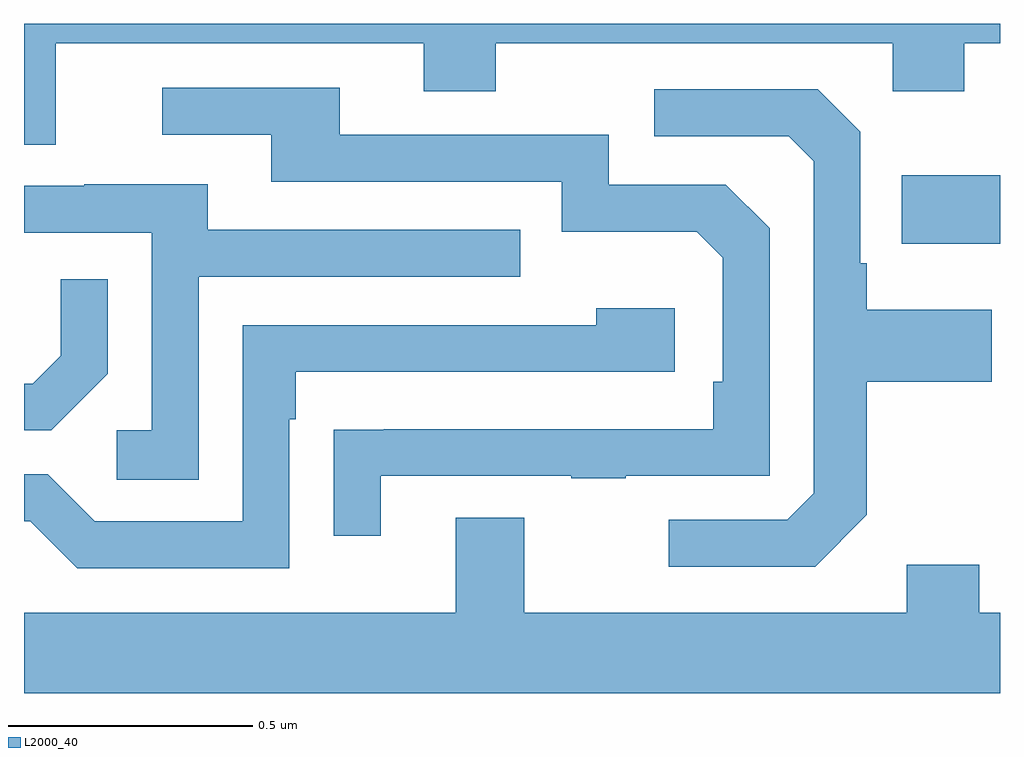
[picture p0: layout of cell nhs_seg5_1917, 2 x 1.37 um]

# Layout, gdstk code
import gdstk
lib = gdstk.Library(unit=1e-6, precision=1e-09)
def R(c, l, rs):  # rectangles x0, y0, x1, y1
    for r in rs: c.add(gdstk.rectangle(r[:2], r[2:], *l))
def P(c, l, *ps):  # polygons
    for p in ps: c.add(gdstk.Polygon(p, *l))
L2000_40 = (2000, 40)

nhs_seg5_1917 = lib.new_cell('nhs_seg5_1917')
R(nhs_seg5_1917, L2000_40, [(138.799,856.349,139,856.489)])
P(nhs_seg5_1917, L2000_40, [(137.065,856.76),(137.819,856.76),(137.819,856.661),(137.967,856.661),(137.967,856.76),(138.78,856.76),(138.78,856.661),(138.927,856.661),(138.927,856.76),(139,856.76),(139,856.799),(137,856.799),(137,856.552),(137.065,856.552)],
  [(137.731,855.873),(138.121,855.873),(138.121,855.868),(138.233,855.868),(138.233,855.873),(138.528,855.873),(138.528,856.38),(138.438,856.47),(138.198,856.47),(138.198,856.572),(137.647,856.572),(137.647,856.668),(137.283,856.668),(137.283,856.572),(137.507,856.572),(137.507,856.476),(138.102,856.476),(138.102,856.373),(138.379,856.373),(138.432,856.32),(138.432,856.066),(138.412,856.066),(138.412,855.969),(137.737,855.969),(137.737,855.968),(137.635,855.968),(137.635,855.75),(137.731,855.75)],
  [(138.727,855.793),(138.727,856.066),(138.983,856.066),(138.983,856.213),(138.727,856.213),(138.727,856.309),(138.714,856.309),(138.714,856.578),(138.627,856.665),(138.291,856.665),(138.291,856.569),(138.567,856.569),(138.618,856.518),(138.618,855.837),(138.564,855.783),(138.321,855.783),(138.321,855.687),(138.621,855.687)],
  [(137.358,856.281),(138.017,856.281),(138.017,856.377),(137.377,856.377),(137.377,856.471),(137.123,856.471),(137.123,856.467),(137,856.467),(137,856.371),(137.262,856.371),(137.262,855.966),(137.19,855.966),(137.19,855.865),(137.358,855.865)],
  [(137.172,856.082),(137.172,856.276),(137.075,856.276),(137.075,856.119),(137.018,856.062),(137,856.062),(137,855.966),(137.056,855.966)],
  [(137.544,855.989),(137.557,855.989),(137.557,856.086),(138.334,856.086),(138.334,856.216),(138.173,856.216),(138.173,856.182),(137.448,856.182),(137.448,855.78),(137.145,855.78),(137.049,855.876),(137,855.876),(137,855.78),(137.013,855.78),(137.109,855.684),(137.544,855.684)],
  [(139,855.592),(138.957,855.592),(138.957,855.691),(138.809,855.691),(138.809,855.592),(138.025,855.592),(138.025,855.787),(137.885,855.787),(137.885,855.592),(137,855.592),(137,855.428),(139,855.428)])

lib.write_gds('nhs_seg5_1917.gds')
